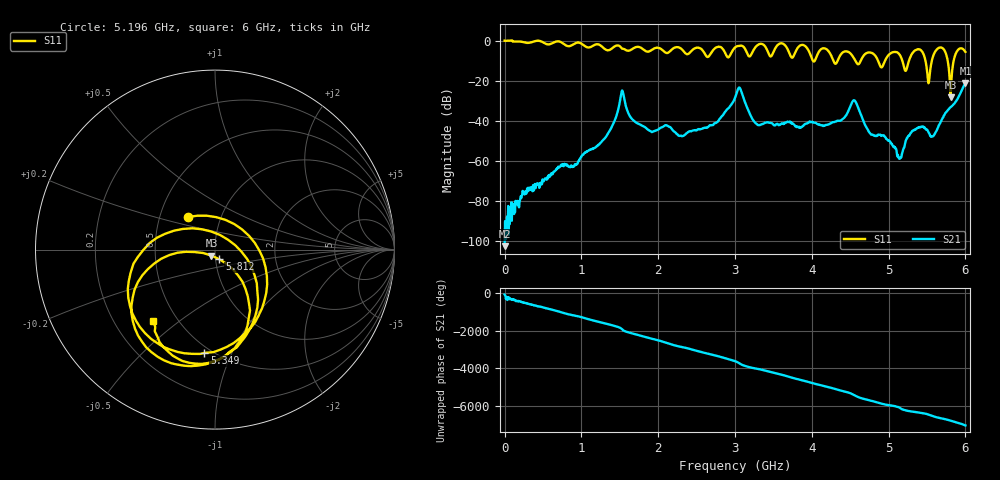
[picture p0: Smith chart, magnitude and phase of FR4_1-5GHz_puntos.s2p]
! NanoVNA-App
! Date: 2025-10-01 20:14:30
! Start: 10kHz Stop: 6GHz Points: 1024
! S-Parameter data: F S11 S21 S12 S22
# Hz S RI R 50
!  Frequency  S11_Real  S11_Imag  S21_Real  S21_Imag  S12_Real  S12_Imag  S22_Real  S22_Imag
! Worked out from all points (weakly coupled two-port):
!   1024 points, 10 kHz to 6 GHz, reference 50 ohm
!   highest |S21| = -21.34 dB at 6 GHz (marker M1); lowest = -102.8 dB at 10 kHz (marker M2)
!   lowest |S11| = -28.2 dB at 5.806 GHz (marker M3), VSWR 1.08, Z = 48 - j3.22 ohm
!   |S11| at or under -10 dB: 4.862 GHz to 4.954 GHz (91.35 MHz wide, 1.86 % of centre); 5.179 GHz to 5.265 GHz (86.56 MHz wide, 1.66 % of centre); 5.48 GHz to 5.563 GHz (83.15 MHz wide, 1.51 % of centre)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
!   S12 and S22 are empty: the file has one direction only
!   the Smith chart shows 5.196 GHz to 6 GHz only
!   S11 on the Smith chart (normalised r, x): 5.196 GHz: 0.69, +0.27; 5.349 GHz: 0.46, -0.79; 5.812 GHz: 1.04, -0.11; 6 GHz: 0.37, -0.40
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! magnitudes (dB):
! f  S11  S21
! 10 kHz  0.0  -102.8
! 1.003 GHz  -1.5  -57.7
! 1.331 GHz  -4.7  -47.3
! 1.531 GHz  -4.0  -24.9
! 1.677 GHz  -3.8  -39.9
! 2 GHz  -3.5  -44.5
! 2.633 GHz  -8.0  -43.6
! 3.003 GHz  -3.3  -28.3
! 3.067 GHz  -2.5  -23.9
! 3.302 GHz  -2.0  -42.2
! 4.006 GHz  -9.4  -40.7
! 4.551 GHz  -8.9  -29.8
! 4.751 GHz  -5.9  -45.9
! 5.003 GHz  -7.1  -49.8
! 5.196 GHz  -12.5  -53.8
! 5.349 GHz  -4.8  -44.6
! 5.519 GHz  -21.3  -45.7
! 5.701 GHz  -3.7  -38.9
! 5.806 GHz  -28.2  -33.3
! 5.812 GHz  -24.6  -33.1
! 5.889 GHz  -5.4  -29.7
! 6 GHz  -5.6  -21.3
